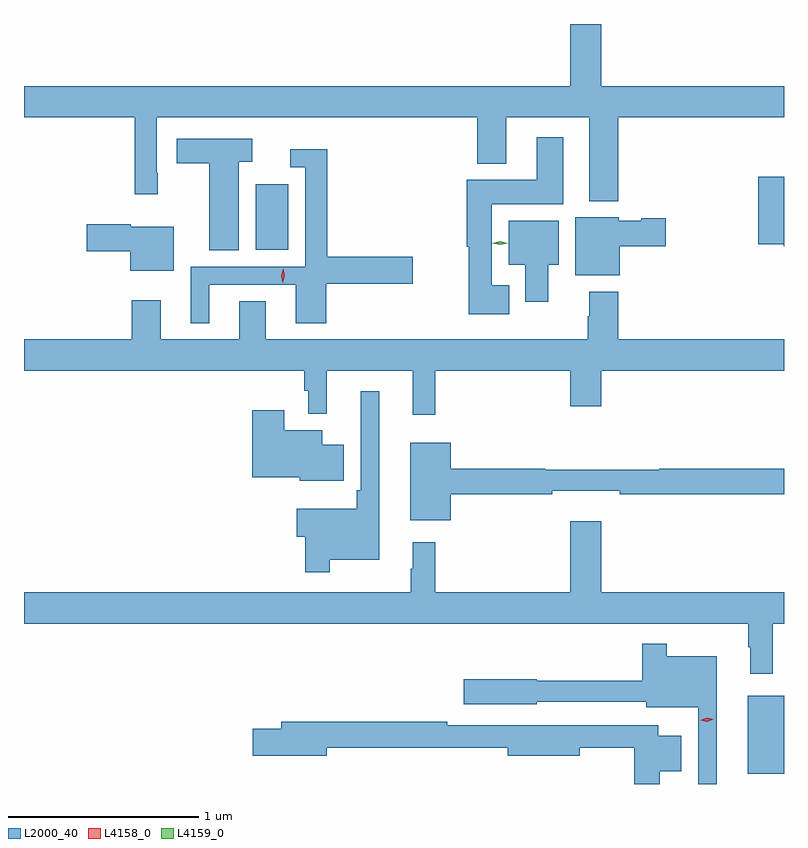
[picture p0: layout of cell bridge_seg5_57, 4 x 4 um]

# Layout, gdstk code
import gdstk
lib = gdstk.Library(unit=1e-6, precision=1e-09)
def R(c, l, rs):  # rectangles x0, y0, x1, y1
    for r in rs: c.add(gdstk.rectangle(r[:2], r[2:], *l))
def P(c, l, *ps):  # polygons
    for p in ps: c.add(gdstk.Polygon(p, *l))
L2000_40 = (2000, 40)
L4158_0 = (4158, 0)
L4159_0 = (4159, 0)

bridge_seg5_57 = lib.new_cell('bridge_seg5_57')
R(bridge_seg5_57, L2000_40, [(765.341,910.583,765.533,910.993), (762.752,913.34,762.925,913.684)])
P(bridge_seg5_57, L2000_40, [(764.66,914.036),(765.533,914.036),(765.533,914.2),(764.572,914.2),(764.572,914.528),(764.408,914.528),(764.408,914.2),(761.533,914.2),(761.533,914.036),(762.115,914.036),(762.115,913.632),(762.236,913.632),(762.236,913.744),(762.231,913.744),(762.231,914.036),(763.919,914.036),(763.919,913.793),(764.071,913.793),(764.071,914.036),(764.507,914.036),(764.507,913.595),(764.66,913.595)],
  [(764.086,913.153),(763.996,913.153),(763.996,913.58),(764.371,913.58),(764.371,913.933),(764.231,913.933),(764.231,913.708),(763.862,913.708),(763.862,913.355),(763.874,913.355),(763.874,913.001),(764.086,913.001)],
  [(762.664,913.802),(762.733,913.802),(762.733,913.924),(762.336,913.924),(762.336,913.795),(762.509,913.795),(762.509,913.336),(762.664,913.336)],
  [(762.508,913.155),(762.962,913.155),(762.962,912.954),(763.124,912.954),(763.124,913.162),(763.579,913.162),(763.579,913.304),(763.13,913.304),(763.13,913.87),(762.933,913.87),(762.933,913.773),(763.014,913.773),(763.014,913.251),(762.41,913.251),(762.41,912.954),(762.508,912.954)],
  [(765.533,913.723),(765.398,913.723),(765.398,913.37),(765.531,913.37),(765.531,913.358),(765.533,913.358)],
  [(764.668,913.358),(764.911,913.358),(764.911,913.505),(764.781,913.505),(764.781,913.492),(764.664,913.492),(764.664,913.51),(764.435,913.51),(764.435,913.205),(764.668,913.205)],
  [(764.293,913.262),(764.347,913.262),(764.347,913.492),(764.084,913.492),(764.084,913.262),(764.171,913.262),(764.171,913.065),(764.293,913.065)],
  [(762.322,913.462),(762.096,913.462),(762.096,913.475),(761.862,913.475),(761.862,913.333),(762.092,913.333),(762.092,913.229),(762.322,913.229)],
  [(762.805,913.07),(762.665,913.07),(762.665,912.868),(762.253,912.868),(762.253,913.075),(762.101,913.075),(762.101,912.868),(761.533,912.868),(761.533,912.704),(763.009,912.704),(763.009,912.597),(763.029,912.597),(763.029,912.476),(763.127,912.476),(763.127,912.704),(763.58,912.704),(763.58,912.471),(763.697,912.471),(763.697,912.704),(764.408,912.704),(764.408,912.516),(764.572,912.516),(764.572,912.704),(765.533,912.704),(765.533,912.868),(764.66,912.868),(764.66,913.12),(764.507,913.12),(764.507,912.989),(764.5,912.989),(764.5,912.868),(762.805,912.868)],
  [(763.141,911.708),(763.402,911.708),(763.402,912.595),(763.305,912.595),(763.305,912.073),(763.285,912.073),(763.285,911.977),(762.968,911.977),(762.968,911.83),(763.012,911.83),(763.012,911.643),(763.141,911.643)],
  [(763.216,912.313),(763.102,912.313),(763.102,912.391),(762.904,912.391),(762.904,912.496),(762.734,912.496),(762.734,912.143),(762.984,912.143),(762.984,912.125),(763.216,912.125)],
  [(763.78,912.052),(764.312,912.052),(764.312,912.071),(764.668,912.071),(764.668,912.052),(765.533,912.052),(765.533,912.188),(764.876,912.188),(764.876,912.181),(764.276,912.181),(764.276,912.188),(763.78,912.188),(763.78,912.325),(763.565,912.325),(763.565,911.915),(763.78,911.915)],
  [(765.473,911.372),(765.533,911.372),(765.533,911.536),(764.572,911.536),(764.572,911.911),(764.408,911.911),(764.408,911.536),(763.697,911.536),(763.697,911.8),(763.58,911.8),(763.58,911.66),(763.569,911.66),(763.569,911.536),(761.533,911.536),(761.533,911.372),(765.345,911.372),(765.345,911.249),(765.356,911.249),(765.356,911.109),(765.473,911.109)],
  [(765.178,911.2),(764.917,911.2),(764.917,911.266),(764.788,911.266),(764.788,911.071),(764.232,911.071),(764.232,911.079),(763.848,911.079),(763.848,910.949),(764.232,910.949),(764.232,910.962),(764.807,910.962),(764.807,910.931),(765.081,910.931),(765.081,910.528),(765.178,910.528)],
  [(764.878,910.595),(764.992,910.595),(764.992,910.783),(764.872,910.783),(764.872,910.836),(763.76,910.836),(763.76,910.856),(762.887,910.856),(762.887,910.82),(762.738,910.82),(762.738,910.678),(763.126,910.678),(763.126,910.72),(764.078,910.72),(764.078,910.678),(764.458,910.678),(764.458,910.72),(764.744,910.72),(764.744,910.528),(764.878,910.528)])
P(bridge_seg5_57, L4158_0, [(765.128,910.856),(765.092,910.863),(765.091,910.863),(765.092,910.864),(765.126,910.876),(765.162,910.869),(765.163,910.868),(765.162,910.868)],
  [(762.894,913.167),(762.886,913.203),(762.897,913.239),(762.898,913.239),(762.898,913.239),(762.906,913.203),(762.895,913.167),(762.895,913.167)])
P(bridge_seg5_57, L4159_0, [(764.039,913.365),(763.998,913.375),(763.998,913.375),(763.998,913.375),(764.039,913.385),(764.08,913.374),(764.08,913.374),(764.08,913.374)])

lib.write_gds('bridge_seg5_57.gds')
